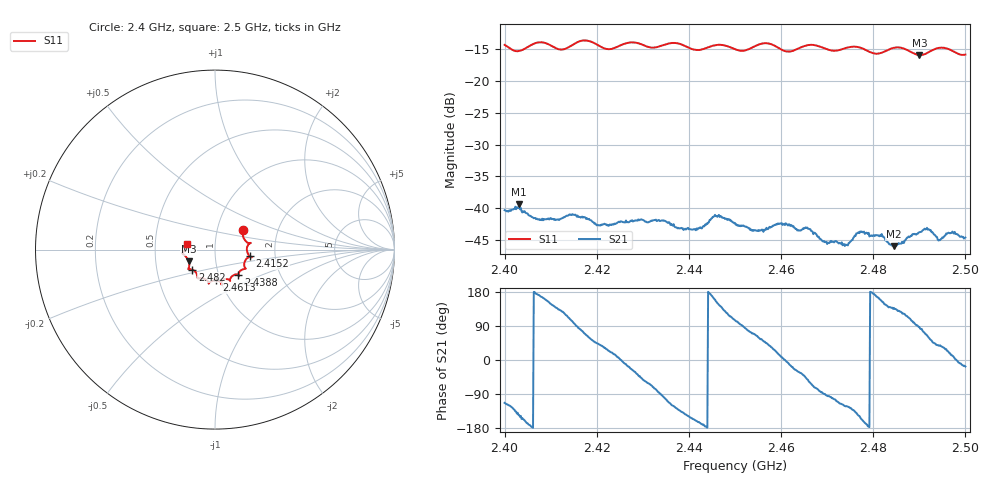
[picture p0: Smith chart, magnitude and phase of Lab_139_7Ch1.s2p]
# Hz S RI R 50
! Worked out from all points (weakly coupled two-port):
!   601 points, 2.4 GHz to 2.5 GHz, reference 50 ohm
!   highest |S21| = -39.46 dB at 2.4032 GHz (marker M1); lowest = -46.0 dB at 2.4845 GHz (marker M2)
!   lowest |S11| = -15.9 dB at 2.49 GHz (marker M3), VSWR 1.38, Z = 36.9 - j4.87 ohm
!   |S11| at or under -10 dB: start of sweep to end of sweep
!   S12 and S22 are empty: the file has one direction only
!   S11 on the Smith chart (normalised r, x): 2.4 GHz: 1.33, +0.31; 2.4152 GHz: 1.48, -0.11; 2.4388 GHz: 1.24, -0.36; 2.4613 GHz: 0.96, -0.34; 2.482 GHz: 0.76, -0.17; 2.5 GHz: 0.72, +0.05
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2.4e9  0.1578 0.1114  -0.00376 -0.00882  0 0  0 0
2.403167e9  0.1625 0.0592  -0.00878 -0.00602  0 0  0 0
2.4075e9  0.1988 0.0365  -0.00806 0.00128  0 0  0 0
2.412167e9  0.1774 0.00411  -0.00528 0.00628  0 0  0 0
2.415167e9  0.1936 -0.0369  -0.000847 0.00876  0 0  0 0
2.416667e9  0.2036 -0.0433  0.00176 0.00826  0 0  0 0
2.420333e9  0.1868 -0.0429  0.00536 0.00496  0 0  0 0
2.433333e9  0.1321 -0.132  0.00076 -0.00798  0 0  0 0
2.438833e9  0.1297 -0.141  -0.0051 -0.00434  0 0  0 0
2.446e9  0.0835 -0.174  -0.00771 0.00391  0 0  0 0
2.45e9  0.0689 -0.1647  -0.00198 0.00735  0 0  0 0
2.456833e9  0.0382 -0.1952  0.00495 0.0049  0 0  0 0
2.461333e9  0.00783 -0.1711  0.00734 -0.000724  0 0  0 0
2.466667e9  -0.0348 -0.1902  0.00282 -0.00594  0 0  0 0
2.473833e9  -0.0858 -0.1599  -0.00261 -0.00427  0 0  0 0
2.477e9  -0.0965 -0.1572  -0.00535 -0.00337  0 0  0 0
2.482e9  -0.1259 -0.1117  -0.00531 0.00268  0 0  0 0
2.483333e9  -0.1397 -0.1089  -0.00398 0.00346  0 0  0 0
2.4845e9  -0.1473 -0.1089  -0.00367 0.00338  0 0  0 0
2.49e9  -0.147 -0.0643  0.000302 0.00642  0 0  0 0
2.494833e9  -0.1827 -0.02  0.00464 0.00334  0 0  0 0
2.5e9  -0.1587 0.0325  0.00558 -0.00173  0 0  0 0
